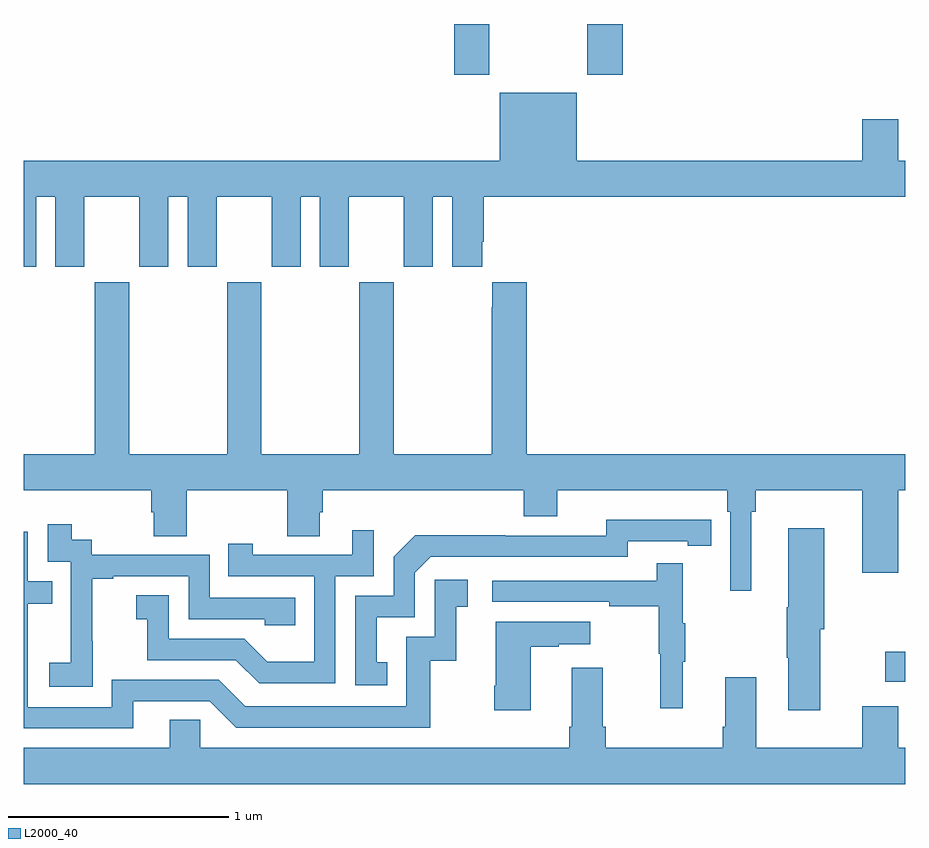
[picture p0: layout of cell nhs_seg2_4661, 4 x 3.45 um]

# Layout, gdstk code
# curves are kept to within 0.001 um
import gdstk
lib = gdstk.Library(unit=1e-6, precision=1e-09)
def R(c, l, rs):  # rectangles x0, y0, x1, y1
    for r in rs: c.add(gdstk.rectangle(r[:2], r[2:], *l))
def P(c, l, *ps):  # polygons
    for p in ps: c.add(gdstk.Polygon(p, *l))
L2000_40 = (2000, 40)

nhs_seg2_4661 = lib.new_cell('nhs_seg2_4661')
R(nhs_seg2_4661, L2000_40, [(368.91,598.817,369,598.952), (366.953,601.569,367.113,601.8), (367.558,601.569,367.718,601.8)])
P(nhs_seg2_4661, L2000_40, [(365.056,601.016),(365.144,601.016),(365.144,600.699),(365.275,600.699),(365.275,601.016),(365.525,601.016),(365.525,600.699),(365.656,600.699),(365.656,601.016),(365.744,601.016),(365.744,600.699),(365.875,600.699),(365.875,601.016),(366.125,601.016),(366.125,600.699),(366.256,600.699),(366.256,601.016),(366.344,601.016),(366.344,600.699),(366.475,600.699),(366.475,601.016),(366.725,601.016),(366.725,600.699),(366.856,600.699),(366.856,601.016),(366.944,601.016),(366.944,600.699),(367.081,600.699),(367.081,600.811),(367.088,600.811),(367.088,601.016),(369,601.016),(369,601.18),(368.968,601.18),(368.968,601.369),(368.804,601.369),(368.804,601.18),(367.51,601.18),(367.51,601.489),(367.16,601.489),(367.16,601.18),(365,601.18),(365,600.699),(365.056,600.699)],
  [(368.302,599.588),(368.321,599.588),(368.321,599.684),(368.804,599.684),(368.804,599.31),(368.968,599.31),(368.968,599.684),(369,599.684),(369,599.848),(367.283,599.848),(367.283,600.628),(367.127,600.628),(367.127,600.515),(367.123,600.515),(367.123,599.848),(366.678,599.848),(366.678,600.628),(366.523,600.628),(366.523,599.848),(366.078,599.848),(366.078,600.628),(365.923,600.628),(365.923,599.848),(365.478,599.848),(365.478,600.628),(365.323,600.628),(365.323,599.848),(365,599.848),(365,599.684),(365.579,599.684),(365.579,599.586),(365.591,599.586),(365.591,599.476),(365.739,599.476),(365.739,599.684),(366.196,599.684),(366.196,599.476),(366.343,599.476),(366.343,599.586),(366.356,599.586),(366.356,599.684),(367.268,599.684),(367.268,599.567),(367.42,599.567),(367.42,599.684),(368.192,599.684),(368.192,599.588),(368.205,599.588),(368.205,599.229),(368.302,599.229)],
  [(366.65,598.905),(366.601,598.905),(366.601,599.109),(366.774,599.109),(366.774,599.31),(366.846,599.382),(367.74,599.382),(367.74,599.454),(368.012,599.454),(368.012,599.434),(368.12,599.434),(368.12,599.55),(367.644,599.551),(367.644,599.478),(367.184,599.478),(367.184,599.48),(366.776,599.48),(366.678,599.382),(366.678,599.205),(366.504,599.205),(366.504,598.8),(366.65,598.8)],
  [(365.313,598.999),(365.312,598.999),(365.312,599.283),(365.407,599.283),(365.407,599.295),(365.748,599.295),(365.748,599.1),(366.093,599.1),(366.093,599.073),(366.233,599.073),(366.233,599.196),(365.844,599.196),(365.844,599.391),(365.31,599.391),(365.31,599.46),(365.218,599.46),(365.218,599.53),(365.109,599.53),(365.109,599.361),(365.214,599.361),(365.214,599.132),(365.213,599.132),(365.213,598.903),(365.115,598.903),(365.115,598.793),(365.313,598.793)],
  [(368.614,599.054),(368.632,599.054),(368.632,599.512),(368.468,599.512),(368.468,599.154),(368.461,599.154),(368.461,598.924),(368.468,598.924),(368.468,598.686),(368.614,598.686)],
  [(366.414,599.295),(366.588,599.295),(366.588,599.503),(366.491,599.503),(366.491,599.391),(366.04,599.391),(366.04,599.443),(365.929,599.443),(365.929,599.295),(366.318,599.295),(366.318,598.906),(366.104,598.906),(366,599.01),(365.658,599.01),(365.658,599.209),(365.511,599.209),(365.511,599.099),(365.56,599.099),(365.56,598.914),(365.963,598.914),(366.068,598.809),(366.414,598.809)],
  [(365.497,598.728),(365.844,598.728),(365.964,598.608),(366.844,598.608),(366.844,598.911),(366.962,598.911),(366.962,599.157),(367.015,599.157),(367.015,599.278),(366.864,599.278),(366.864,599.019),(366.735,599.019),(366.735,598.704),(366.006,598.704),(365.886,598.824),(365.4,598.824),(365.4,598.701),(365.019,598.701),(365.019,599.17),(365.129,599.17),(365.129,599.271),(365.019,599.271),(365.019,599.496),(365,599.496),(365,598.605),(365.497,598.605)],
  [(367.991,598.907),(368.002,598.907),(368.002,599.081),(367.991,599.081),(367.991,599.353),(367.873,599.353),(367.873,599.274),(367.125,599.274),(367.125,599.178),(367.657,599.178),(367.657,599.158),(367.881,599.158),(367.881,598.944),(367.888,598.944),(367.888,598.695),(367.991,598.695)],
  [(367.3,598.975),(367.427,598.975),(367.427,598.985),(367.57,598.985),(367.57,599.089),(367.142,599.089),(367.142,598.798),(367.135,598.798),(367.135,598.686),(367.3,598.686)],
  [(369,598.516),(368.968,598.516),(368.968,598.705),(368.804,598.705),(368.804,598.516),(368.323,598.516),(368.323,598.837),(368.183,598.837),(368.183,598.612),(368.171,598.612),(368.171,598.516),(367.64,598.516),(367.64,598.612),(367.627,598.612),(367.627,598.879),(367.487,598.879),(367.487,598.612),(367.475,598.612),(367.475,598.516),(365.802,598.516),(365.802,598.643),(365.663,598.643),(365.663,598.516),(365,598.516),(365,598.352),(369,598.352)])

lib.write_gds('nhs_seg2_4661.gds')
